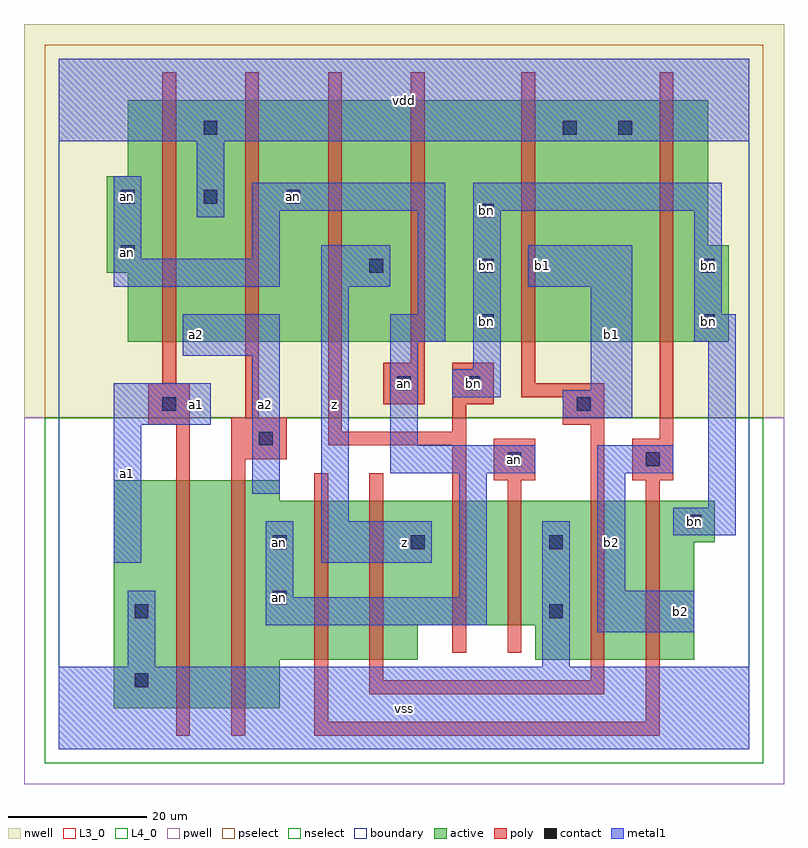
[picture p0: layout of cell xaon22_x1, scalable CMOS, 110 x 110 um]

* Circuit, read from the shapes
.subckt xaon22_x1 a1 a2 an b1 b2 bn vdd vss z
M1 n1 a1 vss VSUBS nfet w=33u l=2u
M2 an a2 n1 VSUBS nfet w=33u l=2u
M3 n2 b2 an VSUBS nfet w=23u l=2u
M4 z b1 n2 VSUBS nfet w=23u l=2u
M5 n3 bn z VSUBS nfet w=18u l=2u
M6 vss an n3 VSUBS nfet w=18u l=2u
M7 n4 b1 vss VSUBS nfet w=23u l=2u
M8 bn b2 n4 VSUBS nfet w=23u l=2u
M9 vdd a1 an n5 pfet w=35u l=2u
M10 an a2 vdd n5 pfet w=35u l=2u
M11 z bn an n5 pfet w=35u l=2u
M12 bn an z n5 pfet w=35u l=2u
M13 vdd b1 bn n5 pfet w=35u l=2u
M14 bn b2 vdd n5 pfet w=35u l=2u
.ends

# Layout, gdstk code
import gdstk
lib = gdstk.Library(unit=1e-6, precision=1e-09)
def R(c, l, rs):  # rectangles x0, y0, x1, y1
    for r in rs: c.add(gdstk.rectangle(r[:2], r[2:], *l))
def A(c, l, x, y, w, h, nx, ny, dx, dy):  # array of equal rectangles
    R(c, l, [(x+i*dx, y+j*dy, x+i*dx+w, y+j*dy+h) for i in range(nx) for j in range(ny)])
L3_0 = (3, 0)
L4_0 = (4, 0)
contact = (25, 0)
pwell = (41, 0)
nwell = (42, 0)
active = (43, 0)
pselect = (44, 0)
nselect = (45, 0)
poly = (46, 0)
metal1 = (49, 0)
boundary = (63, 0)

xaon22_x1 = lib.new_cell('xaon22_x1')
R(xaon22_x1, L3_0, [(8,6,32,13), (8,13,52,18), (69,13,92,18), (8,18,92,30), (8,30,95,36), (8,36,32,39)])
R(xaon22_x1, L4_0, [(10,59,97,69), (7,69,97,73), (7,73,94,83), (10,83,94,94)])
A(xaon22_x1, contact, 31, 29, 2, 2, 3, 1, 20, 0)
A(xaon22_x1, contact, 61, 61, 2, 2, 1, 3, 0, 8)
A(xaon22_x1, contact, 9, 79, 2, 2, 3, 1, 12, 0)
R(xaon22_x1, contact, [(11,9,13,11), (11,19,13,21), (71,19,73,21), (31,21,33,23), (91,32,93,34), (65,41,67,43), (85,41,87,43), (29,44,31,46), (15,49,17,51), (75,49,77,51), (49,52,51,54), (59,52,61,54), (93,61,95,63), (45,69,47,71), (93,69,95,71), (9,71,11,73), (21,89,23,91), (73,89,75,91), (81,89,83,91)])
R(xaon22_x1, pwell, [(-5,-5,105,48)])
R(xaon22_x1, nwell, [(-5,48,105,105)])
R(xaon22_x1, active, [(8,6,32,13), (8,13,52,18), (69,13,92,18), (8,18,92,30), (8,30,95,36), (8,36,32,39), (10,59,97,69), (7,69,97,73), (7,73,94,83), (10,83,94,94)])
R(xaon22_x1, pselect, [(-2,48,102,102)])
R(xaon22_x1, nselect, [(-2,-2,102,48)])
R(xaon22_x1, poly, [(17,2,19,47), (25,2,27,42), (37,2,87,4), (37,4,39,40), (85,4,87,39), (45,8,79,10), (45,10,47,40), (77,10,79,47), (57,14,59,44), (65,14,67,39), (63,39,69,45), (83,39,89,45), (25,42,33,48), (39,44,59,46), (87,45,89,98), (39,46,41,98), (57,46,59,50), (13,47,19,53), (73,47,79,51), (27,48,29,98), (47,50,53,56), (57,50,63,56), (67,51,79,53), (15,53,17,98), (67,53,69,98), (51,56,53,98)])
R(xaon22_x1, metal1, [(0,0,100,12), (10,12,14,23), (70,12,74,33), (78,17,92,23), (30,18,62,22), (30,22,34,33), (58,22,62,40), (78,23,82,40), (8,27,12,47), (38,27,54,33), (89,31,98,35), (38,33,42,67), (94,35,98,59), (28,37,32,57), (48,40,69,44), (78,40,89,44), (48,44,52,59), (8,47,22,53), (73,48,83,52), (57,51,64,55), (77,52,83,67), (60,55,64,78), (18,57,32,63), (48,59,56,63), (92,59,98,63), (52,63,56,78), (92,63,96,78), (8,67,32,71), (38,67,48,73), (68,67,83,73), (8,71,12,83), (28,71,32,78), (20,77,24,88), (28,78,56,82), (60,78,96,82), (0,88,100,100)])
R(xaon22_x1, boundary, [(0,0,100,100)])
xaon22_x1.add(gdstk.Label('an', (10,72), layer=49, texttype=0))
xaon22_x1.add(gdstk.Label('an', (10,80), layer=49, texttype=0))
xaon22_x1.add(gdstk.Label('an', (32,22), layer=49, texttype=0))
xaon22_x1.add(gdstk.Label('an', (32,30), layer=49, texttype=0))
xaon22_x1.add(gdstk.Label('an', (34,80), layer=49, texttype=0))
xaon22_x1.add(gdstk.Label('an', (66,42), layer=49, texttype=0))
xaon22_x1.add(gdstk.Label('bn', (60,53), layer=49, texttype=0))
xaon22_x1.add(gdstk.Label('an', (50,53), layer=49, texttype=0))
xaon22_x1.add(gdstk.Label('bn', (62,62), layer=49, texttype=0))
xaon22_x1.add(gdstk.Label('bn', (62,70), layer=49, texttype=0))
xaon22_x1.add(gdstk.Label('bn', (62,78), layer=49, texttype=0))
xaon22_x1.add(gdstk.Label('bn', (92,33), layer=49, texttype=0))
xaon22_x1.add(gdstk.Label('bn', (94,62), layer=49, texttype=0))
xaon22_x1.add(gdstk.Label('bn', (94,70), layer=49, texttype=0))
xaon22_x1.add(gdstk.Label('a1', (10,40), layer=49, texttype=0))
xaon22_x1.add(gdstk.Label('a1', (20,50), layer=49, texttype=0))
xaon22_x1.add(gdstk.Label('a2', (20,60), layer=49, texttype=0))
xaon22_x1.add(gdstk.Label('a2', (30,50), layer=49, texttype=0))
xaon22_x1.add(gdstk.Label('z', (40,50), layer=49, texttype=0))
xaon22_x1.add(gdstk.Label('vss', (50,6), layer=49, texttype=0))
xaon22_x1.add(gdstk.Label('z', (50,30), layer=49, texttype=0))
xaon22_x1.add(gdstk.Label('b1', (70,70), layer=49, texttype=0))
xaon22_x1.add(gdstk.Label('vdd', (50,94), layer=49, texttype=0))
xaon22_x1.add(gdstk.Label('b2', (90,20), layer=49, texttype=0))
xaon22_x1.add(gdstk.Label('b2', (80,30), layer=49, texttype=0))
xaon22_x1.add(gdstk.Label('b1', (80,60), layer=49, texttype=0))

lib.write_gds('xaon22_x1.gds')
